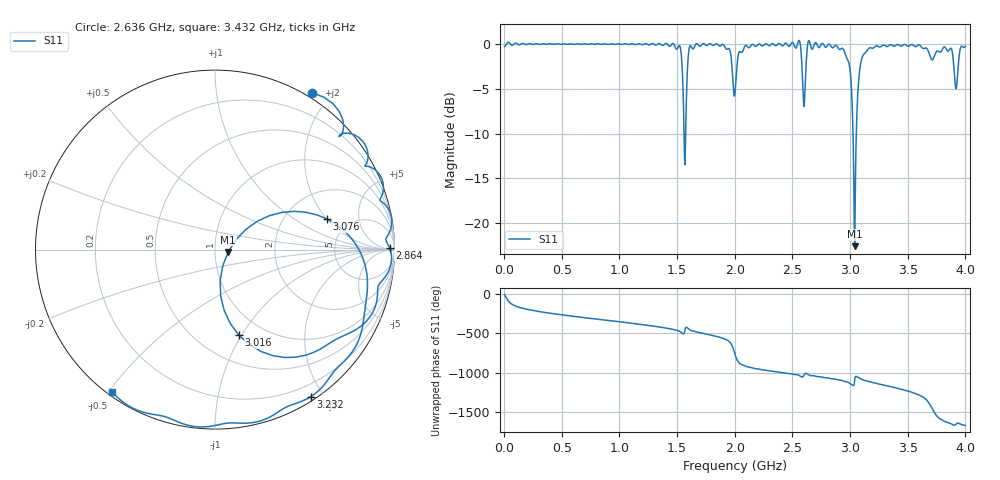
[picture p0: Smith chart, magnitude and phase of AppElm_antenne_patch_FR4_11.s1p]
! TOUCHSTONE file generated by CST MICROWAVE STUDIO
! Date and time: Tue Jun 14 11:27:56 2022
! Project name: AppElm_antenne_patch_FR4.cst
! Parameters = {L=45; W=73.125; e=0.035; h=1.6; lambda=0.190476; ls=120; w0=2.54; w1=0.847; ws=120; y0=18; y1=23.8}
! Header version: 2018
! Port assignment regex: !\s*Touchstone port\s*([0-9]+)\s*=\s*(CST MWS port|CST DS port)\s*([0-9]+|Zmin|Zmax)\s*\(\"(.*)\"\)(\s*mode\s*([0-9]+))?.*
! Touchstone port assignment:
! Touchstone port 1 = CST MWS port 1 ("")
# GHz S MA R 50
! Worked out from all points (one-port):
!   1000 points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, 4 MHz to 4 GHz, reference 50 ohm
!   lowest |S11| = -22.6 dB at 3.04 GHz (marker M1), VSWR 1.16, Z = 57.9 - j1.53 ohm
!   |S11| at or under -10 dB: 1.56 GHz to 1.574 GHz (13.79 MHz wide, 0.88 % of centre); 3.025 GHz to 3.054 GHz (28.83 MHz wide, 0.949 % of centre)
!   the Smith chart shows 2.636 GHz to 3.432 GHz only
!   S11 on the Smith chart (normalised r, x): 2.636 GHz: -0.06, +1.80; 2.864 GHz: 62, +25; 3.016 GHz: 0.77, -0.98; 3.076 GHz: 3.38, +1.99; 3.232 GHz: 0.05, -1.84; 3.432 GHz: 0.01, -0.51
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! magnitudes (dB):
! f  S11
! 4 MHz  -0.3
! 504 MHz  0.0
! 1.004 GHz  0.0
! 1.504 GHz  -0.5
! 1.532 GHz  -0.7
! 1.568 GHz  -13.5
! 1.624 GHz  -0.3
! 1.904 GHz  -0.1
! 2.004 GHz  -5.2
! 2.092 GHz  -0.2
! 2.504 GHz  0.2
! 2.56 GHz  0.4
! 2.6 GHz  -7.0
! 2.636 GHz  0.2
! 2.864 GHz  -0.2
! 2.956 GHz  -1.0
! 3.004 GHz  -3.4
! 3.016 GHz  -6.1
! 3.04 GHz  -22.6
! 3.052 GHz  -11.0
! 3.076 GHz  -3.8
! 3.116 GHz  -1.2
! 3.232 GHz  -0.2
! 3.432 GHz  -0.2
! 3.504 GHz  -0.2
! 3.868 GHz  -0.5
! 3.92 GHz  -5.0
! 4 GHz  -0.2
